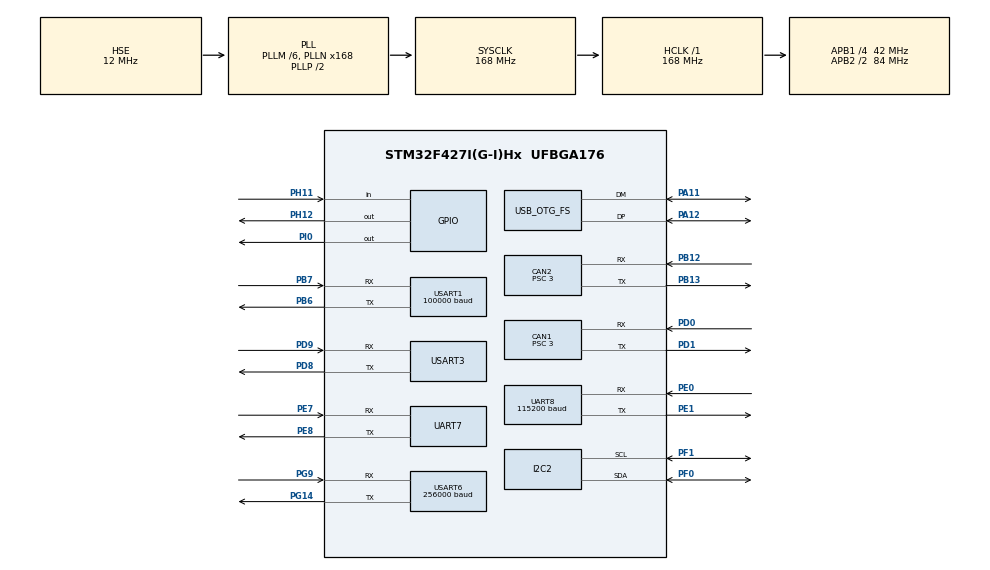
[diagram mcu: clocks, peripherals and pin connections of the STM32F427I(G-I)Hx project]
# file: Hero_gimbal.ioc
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CAN1.ABOM=ENABLE
CAN1.BS1=CAN_BS1_9TQ
CAN1.BS2=CAN_BS2_4TQ
CAN1.CalculateBaudRate=1000000
CAN1.CalculateTimeBit=1000
CAN1.CalculateTimeQuantum=71.42857142857143
CAN1.NART=ENABLE
CAN1.Prescaler=3
CAN1.TTCM=DISABLE
CAN2.ABOM=ENABLE
CAN2.BS1=CAN_BS1_9TQ
CAN2.BS2=CAN_BS2_4TQ
CAN2.CalculateBaudRate=1000000
CAN2.CalculateTimeBit=1000
CAN2.CalculateTimeQuantum=71.42857142857143
CAN2.NART=ENABLE
CAN2.Prescaler=3
Dma.Request0=USART1_RX
Dma.Request1=USART1_TX
Dma.Request2=USART3_RX
Dma.Request3=USART3_TX
Dma.Request4=USART6_TX
Dma.Request5=UART8_RX
Dma.Request6=UART8_TX
Dma.Request7=UART7_RX
Dma.UART7_RX.7.Direction=DMA_PERIPH_TO_MEMORY
Dma.UART7_RX.7.FIFOMode=DMA_FIFOMODE_DISABLE
Dma.UART7_RX.7.Instance=DMA1_Stream3
Dma.UART7_RX.7.MemDataAlignment=DMA_MDATAALIGN_BYTE
Dma.UART7_RX.7.MemInc=DMA_MINC_ENABLE
Dma.UART7_RX.7.Mode=DMA_NORMAL
Dma.UART7_RX.7.PeriphDataAlignment=DMA_PDATAALIGN_BYTE
Dma.UART7_RX.7.PeriphInc=DMA_PINC_DISABLE
Dma.UART7_RX.7.Priority=DMA_PRIORITY_LOW
Dma.UART8_RX.5.Direction=DMA_PERIPH_TO_MEMORY
Dma.UART8_RX.5.FIFOMode=DMA_FIFOMODE_DISABLE
Dma.UART8_RX.5.Instance=DMA1_Stream6
Dma.UART8_RX.5.MemDataAlignment=DMA_MDATAALIGN_BYTE
Dma.UART8_RX.5.MemInc=DMA_MINC_ENABLE
Dma.UART8_RX.5.Mode=DMA_NORMAL
Dma.UART8_RX.5.PeriphDataAlignment=DMA_PDATAALIGN_BYTE
Dma.UART8_RX.5.PeriphInc=DMA_PINC_DISABLE
Dma.UART8_RX.5.Priority=DMA_PRIORITY_LOW
Dma.UART8_TX.6.Direction=DMA_MEMORY_TO_PERIPH
Dma.UART8_TX.6.FIFOMode=DMA_FIFOMODE_DISABLE
Dma.UART8_TX.6.Instance=DMA1_Stream0
Dma.UART8_TX.6.MemDataAlignment=DMA_MDATAALIGN_BYTE
Dma.UART8_TX.6.MemInc=DMA_MINC_ENABLE
Dma.UART8_TX.6.Mode=DMA_NORMAL
Dma.UART8_TX.6.PeriphDataAlignment=DMA_PDATAALIGN_BYTE
Dma.UART8_TX.6.PeriphInc=DMA_PINC_DISABLE
Dma.UART8_TX.6.Priority=DMA_PRIORITY_LOW
Dma.USART1_RX.0.Direction=DMA_PERIPH_TO_MEMORY
Dma.USART1_RX.0.FIFOMode=DMA_FIFOMODE_DISABLE
Dma.USART1_RX.0.Instance=DMA2_Stream2
Dma.USART1_RX.0.MemDataAlignment=DMA_MDATAALIGN_BYTE
Dma.USART1_RX.0.MemInc=DMA_MINC_ENABLE
Dma.USART1_RX.0.Mode=DMA_NORMAL
Dma.USART1_RX.0.PeriphDataAlignment=DMA_PDATAALIGN_BYTE
Dma.USART1_RX.0.PeriphInc=DMA_PINC_DISABLE
Dma.USART1_RX.0.Priority=DMA_PRIORITY_LOW
Dma.USART1_TX.1.Direction=DMA_MEMORY_TO_PERIPH
Dma.USART1_TX.1.FIFOMode=DMA_FIFOMODE_DISABLE
Dma.USART1_TX.1.Instance=DMA2_Stream7
Dma.USART1_TX.1.MemDataAlignment=DMA_MDATAALIGN_BYTE
Dma.USART1_TX.1.MemInc=DMA_MINC_ENABLE
Dma.USART1_TX.1.Mode=DMA_NORMAL
Dma.USART1_TX.1.PeriphDataAlignment=DMA_PDATAALIGN_BYTE
Dma.USART1_TX.1.PeriphInc=DMA_PINC_DISABLE
Dma.USART1_TX.1.Priority=DMA_PRIORITY_LOW
Dma.USART3_RX.2.Direction=DMA_PERIPH_TO_MEMORY
Dma.USART3_RX.2.FIFOMode=DMA_FIFOMODE_DISABLE
Dma.USART3_RX.2.Instance=DMA1_Stream1
Dma.USART3_RX.2.MemDataAlignment=DMA_MDATAALIGN_BYTE
Dma.USART3_RX.2.MemInc=DMA_MINC_ENABLE
Dma.USART3_RX.2.Mode=DMA_NORMAL
Dma.USART3_RX.2.PeriphDataAlignment=DMA_PDATAALIGN_BYTE
Dma.USART3_RX.2.PeriphInc=DMA_PINC_DISABLE
Dma.USART3_RX.2.Priority=DMA_PRIORITY_LOW
Dma.USART3_TX.3.Direction=DMA_MEMORY_TO_PERIPH
Dma.USART3_TX.3.FIFOMode=DMA_FIFOMODE_DISABLE
Dma.USART3_TX.3.Instance=DMA1_Stream4
Dma.USART3_TX.3.MemDataAlignment=DMA_MDATAALIGN_BYTE
Dma.USART3_TX.3.MemInc=DMA_MINC_ENABLE
Dma.USART3_TX.3.Mode=DMA_NORMAL
Dma.USART3_TX.3.PeriphDataAlignment=DMA_PDATAALIGN_BYTE
Dma.USART3_TX.3.PeriphInc=DMA_PINC_DISABLE
Dma.USART3_TX.3.Priority=DMA_PRIORITY_LOW
Dma.USART6_TX.4.Direction=DMA_MEMORY_TO_PERIPH
Dma.USART6_TX.4.FIFOMode=DMA_FIFOMODE_DISABLE
Dma.USART6_TX.4.Instance=DMA2_Stream6
Dma.USART6_TX.4.MemDataAlignment=DMA_MDATAALIGN_BYTE
Dma.USART6_TX.4.MemInc=DMA_MINC_ENABLE
Dma.USART6_TX.4.Mode=DMA_NORMAL
Dma.USART6_TX.4.PeriphDataAlignment=DMA_PDATAALIGN_BYTE
Dma.USART6_TX.4.PeriphInc=DMA_PINC_DISABLE
Dma.USART6_TX.4.Priority=DMA_PRIORITY_LOW
FREERTOS.Tasks01=defaultTask,24,128,StartDefaultTask,Default,NULL,Dynamic,NULL,NULL
FREERTOS.configTOTAL_HEAP_SIZE=32768
I2C2.I2C_Mode=I2C_Standard
Mcu.Family=STM32F4
Mcu.Name=STM32F427I(G-I)Hx
Mcu.Package=UFBGA176
NVIC.CAN1_RX0_IRQn=true\:6\:0\:true\:false\:true\:true\:true\:true\:true
NVIC.CAN1_RX1_IRQn=true\:6\:0\:true\:false\:true\:true\:true\:true\:true
NVIC.CAN2_RX0_IRQn=true\:6\:0\:true\:false\:true\:true\:true\:true\:true
NVIC.CAN2_RX1_IRQn=true\:6\:0\:true\:false\:true\:true\:true\:true\:true
NVIC.DMA1_Stream0_IRQn=true\:5\:0\:false\:false\:true\:true\:false\:true\:true
NVIC.DMA1_Stream1_IRQn=true\:5\:0\:false\:false\:true\:true\:false\:true\:true
NVIC.DMA1_Stream3_IRQn=true\:5\:0\:false\:false\:true\:true\:false\:true\:true
NVIC.DMA1_Stream4_IRQn=true\:5\:0\:false\:false\:true\:false\:false\:true\:true
NVIC.DMA1_Stream6_IRQn=true\:5\:0\:false\:false\:true\:true\:false\:true\:true
NVIC.DMA2_Stream2_IRQn=true\:5\:0\:false\:false\:true\:true\:false\:true\:true
NVIC.DMA2_Stream6_IRQn=true\:5\:0\:false\:false\:true\:true\:false\:true\:true
NVIC.DMA2_Stream7_IRQn=true\:5\:0\:false\:false\:true\:true\:false\:true\:true
NVIC.OTG_FS_IRQn=true\:5\:0\:false\:false\:true\:true\:true\:true\:true
NVIC.PriorityGroup=NVIC_PRIORITYGROUP_4
NVIC.TIM8_TRG_COM_TIM14_IRQn=true\:15\:0\:false\:false\:true\:false\:false\:true\:true
NVIC.TimeBase=TIM8_TRG_COM_TIM14_IRQn
NVIC.TimeBaseIP=TIM14
NVIC.UART7_IRQn=true\:5\:0\:false\:false\:true\:true\:true\:true\:true
NVIC.UART8_IRQn=true\:5\:0\:true\:false\:true\:true\:true\:true\:true
NVIC.USART1_IRQn=true\:6\:0\:true\:false\:true\:true\:false\:true\:true
NVIC.USART3_IRQn=true\:6\:0\:true\:false\:true\:true\:false\:true\:true
NVIC.USART6_IRQn=true\:6\:0\:true\:false\:true\:true\:false\:true\:true
PA11.Mode=Device_Only
PA11.Signal=USB_OTG_FS_DM
PA12.Mode=Device_Only
PA12.Signal=USB_OTG_FS_DP
PA13.Mode=Serial_Wire
PA13.Signal=SYS_JTMS-SWDIO
PA14.Mode=Serial_Wire
PA14.Signal=SYS_JTCK-SWCLK
PB12.Mode=CAN_Activate
PB12.Signal=CAN2_RX
PB13.Mode=CAN_Activate
PB13.Signal=CAN2_TX
PB6.Mode=Asynchronous
PB6.Signal=USART1_TX
PB7.Mode=Asynchronous
PB7.Signal=USART1_RX
PD0.Mode=CAN_Activate
PD0.Signal=CAN1_RX
PD1.Mode=CAN_Activate
PD1.Signal=CAN1_TX
PD8.Mode=Asynchronous
PD8.Signal=USART3_TX
PD9.Mode=Asynchronous
PD9.Signal=USART3_RX
PE0.Mode=Asynchronous
PE0.Signal=UART8_RX
PE1.Mode=Asynchronous
PE1.Signal=UART8_TX
PE7.Mode=Asynchronous
PE7.Signal=UART7_RX
PE8.Mode=Asynchronous
PE8.Signal=UART7_TX
PF0.GPIO_Speed=GPIO_SPEED_FREQ_MEDIUM
PF0.Mode=I2C
PF0.Signal=I2C2_SDA
PF1.GPIO_Speed=GPIO_SPEED_FREQ_MEDIUM
PF1.Mode=I2C
PF1.Signal=I2C2_SCL
PG14.Mode=Asynchronous
PG14.Signal=USART6_TX
PG9.Mode=Asynchronous
PG9.Signal=USART6_RX
PH0/OSC_IN.Mode=HSE-External-Oscillator
PH0/OSC_IN.Signal=RCC_OSC_IN
PH1/OSC_OUT.Mode=HSE-External-Oscillator
PH1/OSC_OUT.Signal=RCC_OSC_OUT
PH11.GPIO_PuPd=GPIO_PULLDOWN
PH11.Signal=GPIO_Input
PH12.Signal=GPIO_Output
PI0.Signal=GPIO_Output
ProjectManager.HeapSize=0x200
ProjectManager.StackSize=0x1000
ProjectManager.TargetToolchain=MDK-ARM V5.32
RCC.48MHZClocksFreq_Value=48000000
RCC.AHBFreq_Value=168000000
RCC.APB1CLKDivider=RCC_HCLK_DIV4
RCC.APB1Freq_Value=42000000
RCC.APB1TimFreq_Value=84000000
RCC.APB2CLKDivider=RCC_HCLK_DIV2
RCC.APB2Freq_Value=84000000
RCC.APB2TimFreq_Value=168000000
RCC.CortexFreq_Value=168000000
RCC.HCLKFreq_Value=168000000
RCC.HSE_VALUE=12000000
RCC.HSI_VALUE=16000000
RCC.LSE_VALUE=32768
RCC.PLLM=6
RCC.PLLN=168
RCC.PLLQ=7
RCC.SYSCLKFreq_VALUE=168000000
RCC.SYSCLKSource=RCC_SYSCLKSOURCE_PLLCLK
RCC.VCOOutputFreq_Value=336000000
UART7.VirtualMode=Asynchronous
UART8.BaudRate=115200
UART8.VirtualMode=Asynchronous
USART1.BaudRate=100000
USART1.Parity=PARITY_EVEN
USART1.VirtualMode=VM_ASYNC
USART1.WordLength=WORDLENGTH_9B
USART3.VirtualMode=VM_ASYNC
USART6.BaudRate=256000
USART6.VirtualMode=VM_ASYNC
USB_DEVICE.CLASS_NAME_FS=CDC
USB_DEVICE.VirtualMode-CDC_FS=Cdc
USB_DEVICE.VirtualModeFS=Cdc_FS
USB_OTG_FS.VirtualMode=Device_Only
VP_FREERTOS_VS_CMSIS_V2.Mode=CMSIS_V2
VP_SYS_VS_tim14.Mode=TIM14
VP_TIM6_VS_ClockSourceINT.Mode=Enable_Timer
VP_USB_DEVICE_VS_USB_DEVICE_CDC_FS.Mode=CDC_FS
board=custom

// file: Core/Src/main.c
/* USER CODE BEGIN Header */
/**
  ******************************************************************************
  * @file           : main.c
  * @brief          : Main program body
  ******************************************************************************
  * @attention
  *
  * Copyright (c) 2026 STMicroelectronics.
  * All rights reserved.
  *
  * This software is licensed under terms that can be found in the LICENSE file
  * in the root directory of this software component.
  * If no LICENSE file comes with this software, it is provided AS-IS.
  *
  ******************************************************************************
  */
/* USER CODE END Header */
#include "main.h"
#include "cmsis_os.h"
#include "can.h"
#include "dma.h"
#include "i2c.h"
#include "tim.h"
#include "usart.h"
#include "usb_device.h"
#include "gpio.h"

/* USER CODE BEGIN Includes */
#include "can_send_task.hpp"

/* USER CODE END Includes */

void SystemClock_Config(void);
void MX_FREERTOS_Init(void);

int main(void)
   {

  /* MCU Configuration--------------------------------------------------------*/

  /* Reset of all peripherals, Initializes the Flash interface and the Systick. */
  HAL_Init();

  /* Configure the system clock */
  SystemClock_Config();

  /* Initialize all configured peripherals */
  MX_GPIO_Init();
  MX_DMA_Init();
  MX_CAN1_Init();
  MX_CAN2_Init();
  MX_USART1_UART_Init();
  MX_USART3_UART_Init();
  MX_USART6_UART_Init();
  MX_TIM6_Init();
  MX_UART8_Init();
  MX_UART7_Init();
  MX_I2C2_Init();
  /* USER CODE BEGIN 2 */

// 1. 启动 CAN 硬件 (HAL_CAN_Start)

  /* USER CODE END 2 */

  /* Init scheduler */
  osKernelInitialize();  /* Call init function for freertos objects (in cmsis_os2.c) */
  MX_FREERTOS_Init();

  /* Start scheduler */
  osKernelStart();

  /* We should never get here as control is now taken by the scheduler */

  /* Infinite loop */
  while (1)
  {

  }
}

void SystemClock_Config(void)
{
  RCC_OscInitTypeDef RCC_OscInitStruct = {0};
  RCC_ClkInitTypeDef RCC_ClkInitStruct = {0};

  /** Configure the main internal regulator output voltage
  */
  __HAL_RCC_PWR_CLK_ENABLE();
  __HAL_PWR_VOLTAGESCALING_CONFIG(PWR_REGULATOR_VOLTAGE_SCALE1);

  /** Initializes the RCC Oscillators according to the specified parameters
  * in the RCC_OscInitTypeDef structure.
  */
  RCC_OscInitStruct.OscillatorType = RCC_OSCILLATORTYPE_HSE;
  RCC_OscInitStruct.HSEState = RCC_HSE_ON;
  RCC_OscInitStruct.PLL.PLLState = RCC_PLL_ON;
  RCC_OscInitStruct.PLL.PLLSource = RCC_PLLSOURCE_HSE;
  RCC_OscInitStruct.PLL.PLLM = 6;
  RCC_OscInitStruct.PLL.PLLN = 168;
  RCC_OscInitStruct.PLL.PLLP = RCC_PLLP_DIV2;
  RCC_OscInitStruct.PLL.PLLQ = 7;
  if (HAL_RCC_OscConfig(&RCC_OscInitStruct) != HAL_OK)
  {
    Error_Handler();
  }

  /** Initializes the CPU, AHB and APB buses clocks
  */
  RCC_ClkInitStruct.ClockType = RCC_CLOCKTYPE_HCLK|RCC_CLOCKTYPE_SYSCLK
                              |RCC_CLOCKTYPE_PCLK1|RCC_CLOCKTYPE_PCLK2;
  RCC_ClkInitStruct.SYSCLKSource = RCC_SYSCLKSOURCE_PLLCLK;
  RCC_ClkInitStruct.AHBCLKDivider = RCC_SYSCLK_DIV1;
  RCC_ClkInitStruct.APB1CLKDivider = RCC_HCLK_DIV4;
  RCC_ClkInitStruct.APB2CLKDivider = RCC_HCLK_DIV2;

  if (HAL_RCC_ClockConfig(&RCC_ClkInitStruct, FLASH_LATENCY_5) != HAL_OK)
  {
    Error_Handler();
  }
}

void HAL_TIM_PeriodElapsedCallback(TIM_HandleTypeDef *htim)
{
  if (htim->Instance == TIM14)
  {
    HAL_IncTick();
  }
}

void Error_Handler(void)
{
  __disable_irq();
  while (1)
  {
  }
}

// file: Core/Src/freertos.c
/* USER CODE BEGIN Header */
/**
  ******************************************************************************
  * File Name          : freertos.c
  * Description        : Code for freertos applications
  ******************************************************************************
  * @attention
  *
  * Copyright (c) 2026 STMicroelectronics.
  * All rights reserved.
  *
  * This software is licensed under terms that can be found in the LICENSE file
  * in the root directory of this software component.
  * If no LICENSE file comes with this software, it is provided AS-IS.
  *
  ******************************************************************************
  */
/* USER CODE END Header */

#include "FreeRTOS.h"
#include "task.h"
#include "main.h"
#include "cmsis_os.h"

/* USER CODE BEGIN Includes */
#include "can_send_task.hpp"
#include "gimbal_task.hpp"
#include "remote_control_task.hpp"
#include "lob_shot.hpp"
#include "usb_device.h"
/* USER CODE END Includes */

/* Definitions for defaultTask */
osThreadId_t defaultTaskHandle;
const osThreadAttr_t defaultTask_attributes = {
  .name = "defaultTask",
  .stack_size = 128 * 4,
  .priority = (osPriority_t) osPriorityNormal,
};

/* USER CODE BEGIN FunctionPrototypes */
BaseType_t start_remote_control;
BaseType_t start_can_send;
BaseType_t start_gimbal;
BaseType_t start_lob_shot;

TaskHandle_t xRemoteHandle;
TaskHandle_t xCanSendHandle;
TaskHandle_t xGimbalHandle;
TaskHandle_t xLobShotHandle;

/* USER CODE END FunctionPrototypes */

void StartDefaultTask(void *argument);

extern void MX_USB_DEVICE_Init(void);
void MX_FREERTOS_Init(void); /* (MISRA C 2004 rule 8.1) */

void MX_FREERTOS_Init(void) {

  /* USER CODE BEGIN RTOS_QUEUES */
  /* add queues, ... */
//	#ifdef __cplusplus
//extern "C" {
//#endif
//extern void MX_USB_DEVICE_Init(void);
//#ifdef __cplusplus
//}
//#endif
  /* USER CODE END RTOS_QUEUES */

  /* Create the thread(s) */
  /* creation of defaultTask */
  //defaultTaskHandle = osThreadNew(StartDefaultTask, NULL, &defaultTask_attributes);

  /* USER CODE BEGIN RTOS_THREADS */
  MX_USB_DEVICE_Init();
 start_can_send =  xTaskCreate(can_send_task, "CAN_Send_Task", 2048, NULL, osPriorityAboveNormal+2, &xCanSendHandle);
  start_gimbal = xTaskCreate(gimbal_task, "Gimbal_Task", 1024, NULL, osPriorityAboveNormal+1, &xGimbalHandle);
  start_remote_control = xTaskCreate(remote_control_task, "Remote_Control_Task", 256, NULL, osPriorityAboveNormal, &xRemoteHandle);
  // 3-friction-wheel lob shot is controlled in gimbal_task; pneumatic lob_shot_task is disabled.
  // start_lob_shot = xTaskCreate(lob_shot_task, "Lob_Shot_Task", 512, NULL, osPriorityAboveNormal+1, &xLobShotHandle);

  /* add threads, ... */
  /* USER CODE END RTOS_THREADS */

}

void StartDefaultTask(void *argument)
{
  /* init code for USB_DEVICE */
  MX_USB_DEVICE_Init();
  for(;;)
  {
    osDelay(1);
  }
}
